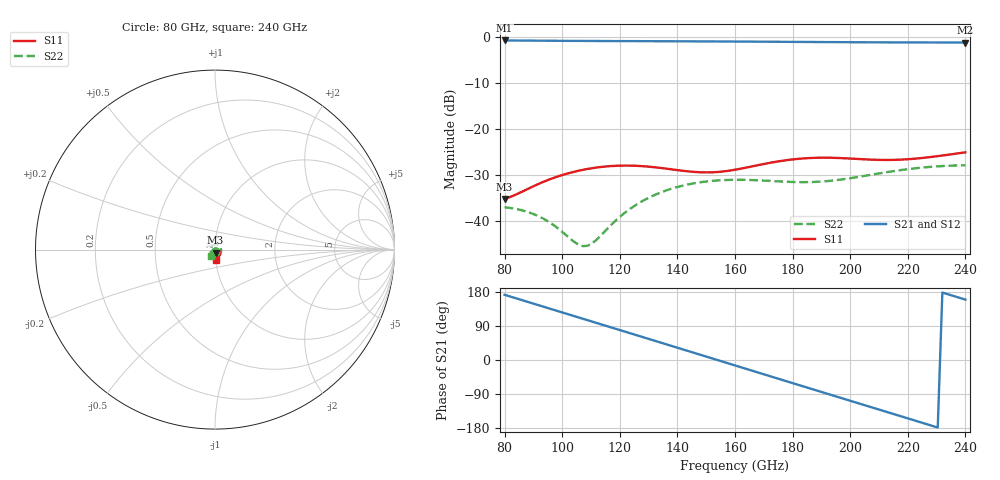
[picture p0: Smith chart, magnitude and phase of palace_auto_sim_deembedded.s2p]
! Created with skrf 1.11.0 (http://scikit-rf.org).
# GHz S DB R 50.0
!freq dBS11 angS11 dBS21 angS21 dBS12 angS12 dBS22 angS22
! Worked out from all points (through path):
!   101 points, 80 GHz to 240 GHz, reference 50 ohm
!   highest |S21| = -0.72 dB at 80 GHz (marker M1); lowest = -1.2 dB at 240 GHz (marker M2)
!   group delay of S21, straight-line fit = 6.47 ps
!   lowest |S11| = -35.1 dB at 80 GHz (marker M3), VSWR 1.04, Z = 50.3 - j1.74 ohm
!   |S11| at or under -10 dB: start of sweep to end of sweep
!   |S22| runs from -45.4 to -27.8 dB; largest |S21 - S12| = 1e-13
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80  -35.12 -80.7  -0.72 172.1  -0.72 172.1  -36.94 -98.3
86.4  -33.46 -69.8  -0.75 157.2  -0.75 157.2  -37.67 -112.3
92.8  -31.60 -67.4  -0.77 142.3  -0.77 142.3  -39.21 -131.9
100.8  -29.80 -70.7  -0.80 123.7  -0.80 123.7  -42.70 -170.1
107.2  -28.81 -75.5  -0.82 108.8  -0.82 108.8  -45.39 133.7
110.4  -28.46 -78.2  -0.83 101.4  -0.83 101.4  -44.79 99.3
120  -27.91 -86.7  -0.86 79.0  -0.86 79.0  -39.04 32.4
126.4  -27.97 -91.6  -0.87 64.1  -0.87 64.1  -36.13 5.2
134.4  -28.42 -95.4  -0.89 45.5  -0.89 45.5  -33.68 -24.0
147.2  -29.32 -92.9  -0.92 15.6  -0.92 15.6  -31.59 -68.9
153.6  -29.30 -88.2  -0.94 0.6  -0.94 0.6  -31.14 -92.1
160  -28.79 -84.1  -0.96 -14.3  -0.96 -14.3  -30.98 -116.4
166.4  -28.01 -82.1  -0.98 -29.3  -0.98 -29.3  -31.05 -142.3
174.4  -27.05 -83.1  -1.01 -47.9  -1.01 -47.9  -31.30 -177.4
187.2  -26.22 -88.6  -1.06 -77.8  -1.06 -77.8  -31.45 120.3
193.6  -26.20 -91.2  -1.08 -92.7  -1.08 -92.7  -31.16 87.7
200  -26.36 -92.6  -1.10 -107.5  -1.10 -107.5  -30.64 55.6
206.4  -26.58 -92.3  -1.12 -122.4  -1.12 -122.4  -29.98 24.4
214.4  -26.66 -89.8  -1.14 -141.0  -1.14 -141.0  -29.16 -12.8
227.2  -26.09 -85.0  -1.15 -170.8  -1.15 -170.8  -28.20 -69.9
233.6  -25.57 -83.7  -1.16 174.3  -1.16 174.3  -27.95 -97.9
240  -25.01 -83.6  -1.17 159.4  -1.17 159.4  -27.82 -125.9
